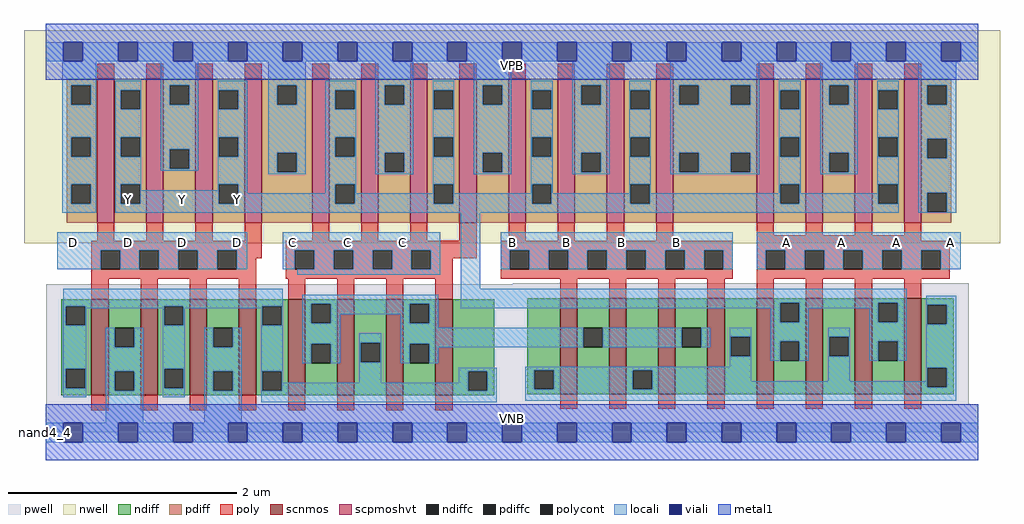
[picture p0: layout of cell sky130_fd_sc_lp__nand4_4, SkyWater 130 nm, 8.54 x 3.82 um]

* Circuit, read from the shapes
.subckt sky130_fd_sc_lp__nand4_4 A B C D VGND VNB VPB VPWR Y
XM1 VGND D n1 VNB sky130_fd_pr__nfet_01v8 w=0.84 l=0.15 m=4
XM2 n2 C n1 VNB sky130_fd_pr__nfet_01v8 w=0.84 l=0.15 m=4
XM3 n2 B n3 VNB sky130_fd_pr__nfet_01v8 w=0.84 l=0.15 m=4
XM4 Y A n3 VNB sky130_fd_pr__nfet_01v8 w=0.84 l=0.15 m=4
XM5 Y D VPWR VPB sky130_fd_pr__pfet_01v8_hvt w=1.26 l=0.15 m=4
XM6 Y C VPWR VPB sky130_fd_pr__pfet_01v8_hvt w=1.26 l=0.15 m=4
XM7 Y B VPWR VPB sky130_fd_pr__pfet_01v8_hvt w=1.26 l=0.15 m=4
XM8 Y A VPWR VPB sky130_fd_pr__pfet_01v8_hvt w=1.26 l=0.15 m=4
.ends

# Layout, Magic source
magic
tech sky130A
magscale 1 2
<< nwell >>
rect -38 331 1670 704
<< pwell >>
rect 817 259 1615 261
rect 1 49 1615 259
rect 0 0 1632 49
<< scnmos >>
rect 80 65 110 233
rect 166 65 196 233
rect 252 65 282 233
rect 338 65 368 233
rect 424 65 454 233
rect 510 65 540 233
rect 596 65 626 233
rect 682 65 712 233
rect 900 67 930 235
rect 986 67 1016 235
rect 1072 67 1102 235
rect 1158 67 1188 235
rect 1244 67 1274 235
rect 1330 67 1360 235
rect 1416 67 1446 235
rect 1502 67 1532 235
<< scpmoshvt >>
rect 90 367 120 619
rect 176 367 206 619
rect 262 367 292 619
rect 348 367 378 619
rect 466 367 496 619
rect 552 367 582 619
rect 638 367 668 619
rect 724 367 754 619
rect 810 367 840 619
rect 896 367 926 619
rect 982 367 1012 619
rect 1068 367 1098 619
rect 1244 367 1274 619
rect 1330 367 1360 619
rect 1416 367 1446 619
rect 1502 367 1532 619
<< ndiff >>
rect 27 221 80 233
rect 27 187 35 221
rect 69 187 80 221
rect 27 111 80 187
rect 27 77 35 111
rect 69 77 80 111
rect 27 65 80 77
rect 110 183 166 233
rect 110 149 121 183
rect 155 149 166 183
rect 110 107 166 149
rect 110 73 121 107
rect 155 73 166 107
rect 110 65 166 73
rect 196 221 252 233
rect 196 187 207 221
rect 241 187 252 221
rect 196 111 252 187
rect 196 77 207 111
rect 241 77 252 111
rect 196 65 252 77
rect 282 183 338 233
rect 282 149 293 183
rect 327 149 338 183
rect 282 107 338 149
rect 282 73 293 107
rect 327 73 338 107
rect 282 65 338 73
rect 368 221 424 233
rect 368 187 379 221
rect 413 187 424 221
rect 368 107 424 187
rect 368 73 379 107
rect 413 73 424 107
rect 368 65 424 73
rect 454 225 510 233
rect 454 191 465 225
rect 499 191 510 225
rect 454 155 510 191
rect 454 121 465 155
rect 499 121 510 155
rect 454 65 510 121
rect 540 157 596 233
rect 540 123 551 157
rect 585 123 596 157
rect 540 65 596 123
rect 626 225 682 233
rect 626 191 637 225
rect 671 191 682 225
rect 626 155 682 191
rect 626 121 637 155
rect 671 121 682 155
rect 626 65 682 121
rect 712 107 785 233
rect 712 73 739 107
rect 773 73 785 107
rect 712 65 785 73
rect 843 109 900 235
rect 843 75 855 109
rect 889 75 900 109
rect 843 67 900 75
rect 930 183 986 235
rect 930 149 941 183
rect 975 149 986 183
rect 930 67 986 149
rect 1016 109 1072 235
rect 1016 75 1027 109
rect 1061 75 1072 109
rect 1016 67 1072 75
rect 1102 183 1158 235
rect 1102 149 1113 183
rect 1147 149 1158 183
rect 1102 67 1158 149
rect 1188 167 1244 235
rect 1188 133 1199 167
rect 1233 133 1244 167
rect 1188 67 1244 133
rect 1274 227 1330 235
rect 1274 193 1285 227
rect 1319 193 1330 227
rect 1274 159 1330 193
rect 1274 125 1285 159
rect 1319 125 1330 159
rect 1274 67 1330 125
rect 1360 167 1416 235
rect 1360 133 1371 167
rect 1405 133 1416 167
rect 1360 67 1416 133
rect 1446 227 1502 235
rect 1446 193 1457 227
rect 1491 193 1502 227
rect 1446 159 1502 193
rect 1446 125 1457 159
rect 1491 125 1502 159
rect 1446 67 1502 125
rect 1532 223 1589 235
rect 1532 189 1543 223
rect 1577 189 1589 223
rect 1532 113 1589 189
rect 1532 79 1543 113
rect 1577 79 1589 113
rect 1532 67 1589 79
<< pdiff >>
rect 37 607 90 619
rect 37 573 45 607
rect 79 573 90 607
rect 37 516 90 573
rect 37 482 45 516
rect 79 482 90 516
rect 37 434 90 482
rect 37 400 45 434
rect 79 400 90 434
rect 37 367 90 400
rect 120 599 176 619
rect 120 565 131 599
rect 165 565 176 599
rect 120 516 176 565
rect 120 482 131 516
rect 165 482 176 516
rect 120 434 176 482
rect 120 400 131 434
rect 165 400 176 434
rect 120 367 176 400
rect 206 607 262 619
rect 206 573 217 607
rect 251 573 262 607
rect 206 495 262 573
rect 206 461 217 495
rect 251 461 262 495
rect 206 367 262 461
rect 292 599 348 619
rect 292 565 303 599
rect 337 565 348 599
rect 292 516 348 565
rect 292 482 303 516
rect 337 482 348 516
rect 292 434 348 482
rect 292 400 303 434
rect 337 400 348 434
rect 292 367 348 400
rect 378 607 466 619
rect 378 573 405 607
rect 439 573 466 607
rect 378 489 466 573
rect 378 455 405 489
rect 439 455 466 489
rect 378 367 466 455
rect 496 599 552 619
rect 496 565 507 599
rect 541 565 552 599
rect 496 516 552 565
rect 496 482 507 516
rect 541 482 552 516
rect 496 434 552 482
rect 496 400 507 434
rect 541 400 552 434
rect 496 367 552 400
rect 582 607 638 619
rect 582 573 593 607
rect 627 573 638 607
rect 582 489 638 573
rect 582 455 593 489
rect 627 455 638 489
rect 582 367 638 455
rect 668 599 724 619
rect 668 565 679 599
rect 713 565 724 599
rect 668 516 724 565
rect 668 482 679 516
rect 713 482 724 516
rect 668 434 724 482
rect 668 400 679 434
rect 713 400 724 434
rect 668 367 724 400
rect 754 607 810 619
rect 754 573 765 607
rect 799 573 810 607
rect 754 489 810 573
rect 754 455 765 489
rect 799 455 810 489
rect 754 367 810 455
rect 840 599 896 619
rect 840 565 851 599
rect 885 565 896 599
rect 840 516 896 565
rect 840 482 851 516
rect 885 482 896 516
rect 840 434 896 482
rect 840 400 851 434
rect 885 400 896 434
rect 840 367 896 400
rect 926 607 982 619
rect 926 573 937 607
rect 971 573 982 607
rect 926 489 982 573
rect 926 455 937 489
rect 971 455 982 489
rect 926 367 982 455
rect 1012 599 1068 619
rect 1012 565 1023 599
rect 1057 565 1068 599
rect 1012 516 1068 565
rect 1012 482 1023 516
rect 1057 482 1068 516
rect 1012 434 1068 482
rect 1012 400 1023 434
rect 1057 400 1068 434
rect 1012 367 1068 400
rect 1098 607 1244 619
rect 1098 573 1109 607
rect 1143 573 1199 607
rect 1233 573 1244 607
rect 1098 489 1244 573
rect 1098 455 1109 489
rect 1143 455 1199 489
rect 1233 455 1244 489
rect 1098 367 1244 455
rect 1274 599 1330 619
rect 1274 565 1285 599
rect 1319 565 1330 599
rect 1274 516 1330 565
rect 1274 482 1285 516
rect 1319 482 1330 516
rect 1274 434 1330 482
rect 1274 400 1285 434
rect 1319 400 1330 434
rect 1274 367 1330 400
rect 1360 607 1416 619
rect 1360 573 1371 607
rect 1405 573 1416 607
rect 1360 489 1416 573
rect 1360 455 1371 489
rect 1405 455 1416 489
rect 1360 367 1416 455
rect 1446 599 1502 619
rect 1446 565 1457 599
rect 1491 565 1502 599
rect 1446 516 1502 565
rect 1446 482 1457 516
rect 1491 482 1502 516
rect 1446 434 1502 482
rect 1446 400 1457 434
rect 1491 400 1502 434
rect 1446 367 1502 400
rect 1532 607 1585 619
rect 1532 573 1543 607
rect 1577 573 1585 607
rect 1532 514 1585 573
rect 1532 480 1543 514
rect 1577 480 1585 514
rect 1532 419 1585 480
rect 1532 385 1543 419
rect 1577 385 1585 419
rect 1532 367 1585 385
<< ndiffc >>
rect 35 187 69 221
rect 35 77 69 111
rect 121 149 155 183
rect 121 73 155 107
rect 207 187 241 221
rect 207 77 241 111
rect 293 149 327 183
rect 293 73 327 107
rect 379 187 413 221
rect 379 73 413 107
rect 465 191 499 225
rect 465 121 499 155
rect 551 123 585 157
rect 637 191 671 225
rect 637 121 671 155
rect 739 73 773 107
rect 855 75 889 109
rect 941 149 975 183
rect 1027 75 1061 109
rect 1113 149 1147 183
rect 1199 133 1233 167
rect 1285 193 1319 227
rect 1285 125 1319 159
rect 1371 133 1405 167
rect 1457 193 1491 227
rect 1457 125 1491 159
rect 1543 189 1577 223
rect 1543 79 1577 113
<< pdiffc >>
rect 45 573 79 607
rect 45 482 79 516
rect 45 400 79 434
rect 131 565 165 599
rect 131 482 165 516
rect 131 400 165 434
rect 217 573 251 607
rect 217 461 251 495
rect 303 565 337 599
rect 303 482 337 516
rect 303 400 337 434
rect 405 573 439 607
rect 405 455 439 489
rect 507 565 541 599
rect 507 482 541 516
rect 507 400 541 434
rect 593 573 627 607
rect 593 455 627 489
rect 679 565 713 599
rect 679 482 713 516
rect 679 400 713 434
rect 765 573 799 607
rect 765 455 799 489
rect 851 565 885 599
rect 851 482 885 516
rect 851 400 885 434
rect 937 573 971 607
rect 937 455 971 489
rect 1023 565 1057 599
rect 1023 482 1057 516
rect 1023 400 1057 434
rect 1109 573 1143 607
rect 1199 573 1233 607
rect 1109 455 1143 489
rect 1199 455 1233 489
rect 1285 565 1319 599
rect 1285 482 1319 516
rect 1285 400 1319 434
rect 1371 573 1405 607
rect 1371 455 1405 489
rect 1457 565 1491 599
rect 1457 482 1491 516
rect 1457 400 1491 434
rect 1543 573 1577 607
rect 1543 480 1577 514
rect 1543 385 1577 419
<< poly >>
rect 90 619 120 645
rect 176 619 206 645
rect 262 619 292 645
rect 348 619 378 645
rect 466 619 496 645
rect 552 619 582 645
rect 638 619 668 645
rect 724 619 754 645
rect 810 619 840 645
rect 896 619 926 645
rect 982 619 1012 645
rect 1068 619 1098 645
rect 1244 619 1274 645
rect 1330 619 1360 645
rect 1416 619 1446 645
rect 1502 619 1532 645
rect 90 335 120 367
rect 176 335 206 367
rect 262 335 292 367
rect 348 335 378 367
rect 466 335 496 367
rect 552 335 582 367
rect 638 335 668 367
rect 724 335 754 367
rect 810 335 840 367
rect 896 335 926 367
rect 982 335 1012 367
rect 1068 335 1098 367
rect 1244 345 1274 367
rect 1330 345 1360 367
rect 1416 345 1446 367
rect 1502 345 1532 367
rect 1244 335 1532 345
rect 80 319 378 335
rect 80 285 96 319
rect 130 285 164 319
rect 198 285 232 319
rect 266 285 300 319
rect 334 305 378 319
rect 420 319 754 335
rect 334 285 368 305
rect 80 269 368 285
rect 420 285 436 319
rect 470 285 504 319
rect 538 285 572 319
rect 606 285 640 319
rect 674 305 754 319
rect 796 319 1202 335
rect 674 285 712 305
rect 420 269 712 285
rect 796 285 812 319
rect 846 285 880 319
rect 914 285 948 319
rect 982 285 1016 319
rect 1050 285 1084 319
rect 1118 285 1152 319
rect 1186 285 1202 319
rect 796 269 1202 285
rect 1244 319 1582 335
rect 1244 285 1260 319
rect 1294 285 1328 319
rect 1362 285 1396 319
rect 1430 285 1464 319
rect 1498 285 1532 319
rect 1566 285 1582 319
rect 1244 269 1582 285
rect 80 233 110 269
rect 166 233 196 269
rect 252 233 282 269
rect 338 233 368 269
rect 424 233 454 269
rect 510 233 540 269
rect 596 233 626 269
rect 682 233 712 269
rect 900 235 930 269
rect 986 235 1016 269
rect 1072 235 1102 269
rect 1158 235 1188 269
rect 1244 235 1274 269
rect 1330 235 1360 269
rect 1416 235 1446 269
rect 1502 235 1532 269
rect 80 39 110 65
rect 166 39 196 65
rect 252 39 282 65
rect 338 39 368 65
rect 424 39 454 65
rect 510 39 540 65
rect 596 39 626 65
rect 682 39 712 65
rect 900 41 930 67
rect 986 41 1016 67
rect 1072 41 1102 67
rect 1158 41 1188 67
rect 1244 41 1274 67
rect 1330 41 1360 67
rect 1416 41 1446 67
rect 1502 41 1532 67
<< polycont >>
rect 96 285 130 319
rect 164 285 198 319
rect 232 285 266 319
rect 300 285 334 319
rect 436 285 470 319
rect 504 285 538 319
rect 572 285 606 319
rect 640 285 674 319
rect 812 285 846 319
rect 880 285 914 319
rect 948 285 982 319
rect 1016 285 1050 319
rect 1084 285 1118 319
rect 1152 285 1186 319
rect 1260 285 1294 319
rect 1328 285 1362 319
rect 1396 285 1430 319
rect 1464 285 1498 319
rect 1532 285 1566 319
<< locali >>
rect 0 649 31 683
rect 65 649 127 683
rect 161 649 223 683
rect 257 649 319 683
rect 353 649 415 683
rect 449 649 511 683
rect 545 649 607 683
rect 641 649 703 683
rect 737 649 799 683
rect 833 649 895 683
rect 929 649 991 683
rect 1025 649 1087 683
rect 1121 649 1183 683
rect 1217 649 1279 683
rect 1313 649 1375 683
rect 1409 649 1471 683
rect 1505 649 1567 683
rect 1601 649 1632 683
rect 29 607 88 649
rect 29 573 45 607
rect 79 573 88 607
rect 29 516 88 573
rect 29 482 45 516
rect 79 482 88 516
rect 29 434 88 482
rect 29 400 45 434
rect 79 400 88 434
rect 29 384 88 400
rect 122 599 167 615
rect 122 565 131 599
rect 165 565 167 599
rect 122 516 167 565
rect 122 482 131 516
rect 165 482 167 516
rect 122 434 167 482
rect 201 607 267 649
rect 201 573 217 607
rect 251 573 267 607
rect 201 495 267 573
rect 201 461 217 495
rect 251 461 267 495
rect 201 458 267 461
rect 301 599 353 615
rect 301 565 303 599
rect 337 565 353 599
rect 301 516 353 565
rect 301 482 303 516
rect 337 482 353 516
rect 122 400 131 434
rect 165 424 167 434
rect 301 434 353 482
rect 389 607 455 649
rect 389 573 405 607
rect 439 573 455 607
rect 389 489 455 573
rect 389 455 405 489
rect 439 455 455 489
rect 389 452 455 455
rect 489 599 543 615
rect 489 565 507 599
rect 541 565 543 599
rect 489 516 543 565
rect 489 482 507 516
rect 541 482 543 516
rect 301 424 303 434
rect 165 400 303 424
rect 337 418 353 434
rect 489 434 543 482
rect 577 607 643 649
rect 577 573 593 607
rect 627 573 643 607
rect 577 489 643 573
rect 577 455 593 489
rect 627 455 643 489
rect 577 452 643 455
rect 677 599 715 615
rect 677 565 679 599
rect 713 565 715 599
rect 677 516 715 565
rect 677 482 679 516
rect 713 482 715 516
rect 489 418 507 434
rect 337 400 507 418
rect 541 418 543 434
rect 677 434 715 482
rect 749 607 815 649
rect 749 573 765 607
rect 799 573 815 607
rect 749 489 815 573
rect 749 455 765 489
rect 799 455 815 489
rect 749 452 815 455
rect 849 599 887 615
rect 849 565 851 599
rect 885 565 887 599
rect 849 516 887 565
rect 849 482 851 516
rect 885 482 887 516
rect 677 418 679 434
rect 541 400 679 418
rect 713 418 715 434
rect 849 434 887 482
rect 921 607 987 649
rect 921 573 937 607
rect 971 573 987 607
rect 921 489 987 573
rect 921 455 937 489
rect 971 455 987 489
rect 921 452 987 455
rect 1021 599 1059 615
rect 1021 565 1023 599
rect 1057 565 1059 599
rect 1021 516 1059 565
rect 1021 482 1023 516
rect 1057 482 1059 516
rect 849 418 851 434
rect 713 400 851 418
rect 885 418 887 434
rect 1021 434 1059 482
rect 1093 607 1249 649
rect 1093 573 1109 607
rect 1143 573 1199 607
rect 1233 573 1249 607
rect 1093 489 1249 573
rect 1093 455 1109 489
rect 1143 455 1199 489
rect 1233 455 1249 489
rect 1093 452 1249 455
rect 1283 599 1321 615
rect 1283 565 1285 599
rect 1319 565 1321 599
rect 1283 516 1321 565
rect 1283 482 1285 516
rect 1319 482 1321 516
rect 1021 418 1023 434
rect 885 400 1023 418
rect 1057 418 1059 434
rect 1283 434 1321 482
rect 1355 607 1421 649
rect 1355 573 1371 607
rect 1405 573 1421 607
rect 1355 489 1421 573
rect 1355 455 1371 489
rect 1405 455 1421 489
rect 1355 452 1421 455
rect 1455 599 1493 615
rect 1455 565 1457 599
rect 1491 565 1493 599
rect 1455 516 1493 565
rect 1455 482 1457 516
rect 1491 482 1493 516
rect 1283 418 1285 434
rect 1057 400 1285 418
rect 1319 418 1321 434
rect 1455 434 1493 482
rect 1455 418 1457 434
rect 1319 400 1457 418
rect 1491 400 1493 434
rect 122 384 1493 400
rect 1527 607 1593 649
rect 1527 573 1543 607
rect 1577 573 1593 607
rect 1527 514 1593 573
rect 1527 480 1543 514
rect 1577 480 1593 514
rect 1527 419 1593 480
rect 1527 385 1543 419
rect 1577 385 1593 419
rect 1527 384 1593 385
rect 20 319 353 350
rect 20 285 96 319
rect 130 285 164 319
rect 198 285 232 319
rect 266 285 300 319
rect 334 285 353 319
rect 415 319 690 350
rect 415 285 436 319
rect 470 285 504 319
rect 538 285 572 319
rect 606 285 640 319
rect 674 285 690 319
rect 440 276 690 285
rect 726 251 760 384
rect 796 319 1202 350
rect 796 285 812 319
rect 846 285 880 319
rect 914 285 948 319
rect 982 285 1016 319
rect 1050 285 1084 319
rect 1118 285 1152 319
rect 1186 285 1202 319
rect 1244 319 1601 350
rect 1244 285 1260 319
rect 1294 285 1328 319
rect 1362 285 1396 319
rect 1430 285 1464 319
rect 1498 285 1532 319
rect 1566 285 1601 319
rect 31 221 415 251
rect 31 187 35 221
rect 69 217 207 221
rect 69 187 71 217
rect 31 111 71 187
rect 205 187 207 217
rect 241 217 379 221
rect 241 187 243 217
rect 31 77 35 111
rect 69 77 71 111
rect 31 61 71 77
rect 105 149 121 183
rect 155 149 171 183
rect 105 107 171 149
rect 105 73 121 107
rect 155 73 171 107
rect 105 17 171 73
rect 205 111 243 187
rect 377 187 379 217
rect 413 187 415 221
rect 205 77 207 111
rect 241 77 243 111
rect 205 61 243 77
rect 277 149 293 183
rect 327 149 343 183
rect 277 107 343 149
rect 277 73 293 107
rect 327 73 343 107
rect 277 17 343 73
rect 377 107 415 187
rect 449 225 687 241
rect 449 191 465 225
rect 499 207 637 225
rect 499 191 515 207
rect 449 155 515 191
rect 621 191 637 207
rect 671 191 687 225
rect 726 227 1507 251
rect 726 217 1285 227
rect 621 183 687 191
rect 1269 193 1285 217
rect 1319 217 1457 227
rect 1319 193 1335 217
rect 449 121 465 155
rect 499 121 515 155
rect 549 157 587 173
rect 549 123 551 157
rect 585 123 587 157
rect 377 73 379 107
rect 413 87 415 107
rect 549 87 587 123
rect 621 155 941 183
rect 621 121 637 155
rect 671 149 941 155
rect 975 149 1113 183
rect 1147 149 1163 183
rect 1197 167 1235 183
rect 671 121 687 149
rect 1197 133 1199 167
rect 1233 133 1235 167
rect 1197 115 1235 133
rect 1269 159 1335 193
rect 1441 193 1457 217
rect 1491 193 1507 227
rect 1269 125 1285 159
rect 1319 125 1335 159
rect 1369 167 1407 183
rect 1369 133 1371 167
rect 1405 133 1407 167
rect 723 107 789 113
rect 723 87 739 107
rect 413 73 739 87
rect 773 73 789 107
rect 377 53 789 73
rect 839 109 1235 115
rect 839 75 855 109
rect 889 75 1027 109
rect 1061 89 1235 109
rect 1369 89 1407 133
rect 1441 159 1507 193
rect 1441 125 1457 159
rect 1491 125 1507 159
rect 1541 223 1593 239
rect 1541 189 1543 223
rect 1577 189 1593 223
rect 1541 113 1593 189
rect 1541 89 1543 113
rect 1061 79 1543 89
rect 1577 79 1593 113
rect 1061 75 1593 79
rect 839 55 1593 75
rect 0 -17 31 17
rect 65 -17 127 17
rect 161 -17 223 17
rect 257 -17 319 17
rect 353 -17 415 17
rect 449 -17 511 17
rect 545 -17 607 17
rect 641 -17 703 17
rect 737 -17 799 17
rect 833 -17 895 17
rect 929 -17 991 17
rect 1025 -17 1087 17
rect 1121 -17 1183 17
rect 1217 -17 1279 17
rect 1313 -17 1375 17
rect 1409 -17 1471 17
rect 1505 -17 1567 17
rect 1601 -17 1632 17
<< viali >>
rect 31 649 65 683
rect 127 649 161 683
rect 223 649 257 683
rect 319 649 353 683
rect 415 649 449 683
rect 511 649 545 683
rect 607 649 641 683
rect 703 649 737 683
rect 799 649 833 683
rect 895 649 929 683
rect 991 649 1025 683
rect 1087 649 1121 683
rect 1183 649 1217 683
rect 1279 649 1313 683
rect 1375 649 1409 683
rect 1471 649 1505 683
rect 1567 649 1601 683
rect 31 -17 65 17
rect 127 -17 161 17
rect 223 -17 257 17
rect 319 -17 353 17
rect 415 -17 449 17
rect 511 -17 545 17
rect 607 -17 641 17
rect 703 -17 737 17
rect 799 -17 833 17
rect 895 -17 929 17
rect 991 -17 1025 17
rect 1087 -17 1121 17
rect 1183 -17 1217 17
rect 1279 -17 1313 17
rect 1375 -17 1409 17
rect 1471 -17 1505 17
rect 1567 -17 1601 17
<< metal1 >>
rect 0 683 1632 715
rect 0 649 31 683
rect 65 649 127 683
rect 161 649 223 683
rect 257 649 319 683
rect 353 649 415 683
rect 449 649 511 683
rect 545 649 607 683
rect 641 649 703 683
rect 737 649 799 683
rect 833 649 895 683
rect 929 649 991 683
rect 1025 649 1087 683
rect 1121 649 1183 683
rect 1217 649 1279 683
rect 1313 649 1375 683
rect 1409 649 1471 683
rect 1505 649 1567 683
rect 1601 649 1632 683
rect 0 617 1632 649
rect 0 17 1632 49
rect 0 -17 31 17
rect 65 -17 127 17
rect 161 -17 223 17
rect 257 -17 319 17
rect 353 -17 415 17
rect 449 -17 511 17
rect 545 -17 607 17
rect 641 -17 703 17
rect 737 -17 799 17
rect 833 -17 895 17
rect 929 -17 991 17
rect 1025 -17 1087 17
rect 1121 -17 1183 17
rect 1217 -17 1279 17
rect 1313 -17 1375 17
rect 1409 -17 1471 17
rect 1505 -17 1567 17
rect 1601 -17 1632 17
rect 0 -49 1632 -17
<< labels >>
flabel pwell s 0 0 1632 49 0 FreeSans 200 0 0 0 VNB
port 6 nsew ground bidirectional
flabel nwell s 0 617 1632 666 0 FreeSans 200 0 0 0 VPB
port 7 nsew power bidirectional
rlabel comment s 0 0 0 0 4 nand4_4
flabel metal1 s 0 617 1632 666 0 FreeSans 340 0 0 0 VPWR
port 8 nsew power bidirectional
flabel metal1 s 0 0 1632 49 0 FreeSans 340 0 0 0 VGND
port 5 nsew ground bidirectional
flabel locali s 1279 316 1313 350 0 FreeSans 340 0 0 0 A
port 1 nsew signal input
flabel locali s 1375 316 1409 350 0 FreeSans 340 0 0 0 A
port 1 nsew signal input
flabel locali s 1471 316 1505 350 0 FreeSans 340 0 0 0 A
port 1 nsew signal input
flabel locali s 1567 316 1601 350 0 FreeSans 340 0 0 0 A
port 1 nsew signal input
flabel locali s 799 316 833 350 0 FreeSans 340 0 0 0 B
port 2 nsew signal input
flabel locali s 895 316 929 350 0 FreeSans 340 0 0 0 B
port 2 nsew signal input
flabel locali s 991 316 1025 350 0 FreeSans 340 0 0 0 B
port 2 nsew signal input
flabel locali s 1087 316 1121 350 0 FreeSans 340 0 0 0 B
port 2 nsew signal input
flabel locali s 415 316 449 350 0 FreeSans 340 0 0 0 C
port 3 nsew signal input
flabel locali s 511 316 545 350 0 FreeSans 340 0 0 0 C
port 3 nsew signal input
flabel locali s 607 316 641 350 0 FreeSans 340 0 0 0 C
port 3 nsew signal input
flabel locali s 31 316 65 350 0 FreeSans 340 0 0 0 D
port 4 nsew signal input
flabel locali s 127 316 161 350 0 FreeSans 340 0 0 0 D
port 4 nsew signal input
flabel locali s 223 316 257 350 0 FreeSans 340 0 0 0 D
port 4 nsew signal input
flabel locali s 319 316 353 350 0 FreeSans 340 0 0 0 D
port 4 nsew signal input
flabel locali s 127 390 161 424 0 FreeSans 340 0 0 0 Y
port 9 nsew signal output
flabel locali s 223 390 257 424 0 FreeSans 340 0 0 0 Y
port 9 nsew signal output
flabel locali s 319 390 353 424 0 FreeSans 340 0 0 0 Y
port 9 nsew signal output
<< properties >>
string LEFsite unit
string LEFclass CORE
string FIXED_BBOX 0 0 1632 666
string GDS_FILE $PDKPATH/libs.ref/sky130_fd_sc_lp/gds/sky130_fd_sc_lp.gds
string LEFsymmetry X Y R90
string GDS_END 4622546
string GDS_START 4607944
<< end >>
